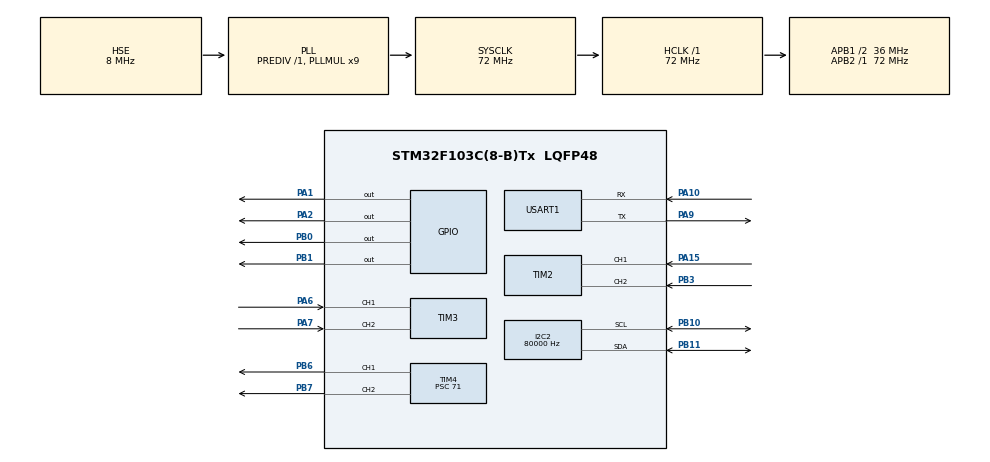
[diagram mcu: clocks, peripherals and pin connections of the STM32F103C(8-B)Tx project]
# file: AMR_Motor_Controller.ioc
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Mcu.Family=STM32F1
Mcu.Name=STM32F103C(8-B)Tx
Mcu.Package=LQFP48
I2C2.ClockSpeed=80000
NVIC.I2C2_ER_IRQn=true\:1\:0\:false\:false\:true\:true\:true
NVIC.I2C2_EV_IRQn=true\:1\:0\:false\:false\:true\:true\:true
NVIC.PriorityGroup=NVIC_PRIORITYGROUP_4
NVIC.USART1_IRQn=true\:0\:0\:false\:false\:true\:true\:true
PA1.Signal=GPIO_Output
PA10.Mode=Asynchronous
PA10.Signal=USART1_RX
PA13.Mode=Serial_Wire
PA13.Signal=SYS_JTMS-SWDIO
PA14.Mode=Serial_Wire
PA14.Signal=SYS_JTCK-SWCLK
PA15.Signal=S_TIM2_CH1_ETR
PA2.Signal=GPIO_Output
PA6.Signal=S_TIM3_CH1
PA7.Signal=S_TIM3_CH2
PA9.Mode=Asynchronous
PA9.Signal=USART1_TX
PB0.Signal=GPIO_Output
PB1.Signal=GPIO_Output
PB10.Mode=I2C
PB10.Signal=I2C2_SCL
PB11.Mode=I2C
PB11.Signal=I2C2_SDA
PB3.Signal=S_TIM2_CH2
PB6.Signal=S_TIM4_CH1
PB7.Signal=S_TIM4_CH2
PD0-OSC_IN.Mode=HSE-External-Oscillator
PD0-OSC_IN.Signal=RCC_OSC_IN
PD1-OSC_OUT.Mode=HSE-External-Oscillator
PD1-OSC_OUT.Signal=RCC_OSC_OUT
ProjectManager.HeapSize=0x200
ProjectManager.StackSize=0x400
ProjectManager.TargetToolchain=STM32CubeIDE
RCC.AHBFreq_Value=72000000
RCC.APB1CLKDivider=RCC_HCLK_DIV2
RCC.APB1Freq_Value=36000000
RCC.APB1TimFreq_Value=72000000
RCC.APB2Freq_Value=72000000
RCC.APB2TimFreq_Value=72000000
RCC.HCLKFreq_Value=72000000
RCC.PLLMUL=RCC_PLL_MUL9
RCC.PLLSourceVirtual=RCC_PLLSOURCE_HSE
RCC.SYSCLKFreq_VALUE=72000000
RCC.SYSCLKSource=RCC_SYSCLKSOURCE_PLLCLK
RCC.USBFreq_Value=72000000
SH.S_TIM2_CH1_ETR.0=TIM2_CH1,Encoder_Interface
SH.S_TIM2_CH2.0=TIM2_CH2,Encoder_Interface
SH.S_TIM3_CH1.0=TIM3_CH1,Encoder_Interface
SH.S_TIM3_CH2.0=TIM3_CH2,Encoder_Interface
SH.S_TIM4_CH1.0=TIM4_CH1,PWM Generation1 CH1
SH.S_TIM4_CH2.0=TIM4_CH2,PWM Generation2 CH2
TIM2.EncoderMode=TIM_ENCODERMODE_TI12
TIM3.EncoderMode=TIM_ENCODERMODE_TI12
TIM4.Channel-PWM\ Generation1\ CH1=TIM_CHANNEL_1
TIM4.Channel-PWM\ Generation2\ CH2=TIM_CHANNEL_2
TIM4.Period=7199
TIM4.Prescaler=71
USART1.VirtualMode=VM_ASYNC
VP_TIM4_VS_ClockSourceINT.Mode=Internal
board=custom

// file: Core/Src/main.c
/* USER CODE BEGIN Header */
/**
 ******************************************************************************
 * @file           : main.c
 * @brief          : Main program body
 ******************************************************************************
 * @attention
 *
 * <h2><center>&copy; Copyright (c) 2026 STMicroelectronics.
 * All rights reserved.</center></h2>
 *
 * This software component is licensed by ST under BSD 3-Clause license,
 * the "License"; You may not use this file except in compliance with the
 * License. You may obtain a copy of the License at:
 *                        opensource.org/licenses/BSD-3-Clause
 *
 ******************************************************************************
 */
/* USER CODE END Header */
#include "main.h"

/* USER CODE BEGIN Includes */

#include "drive_base.h"
#include "robot_cfg.h"
#include "serial_comm.h"
#include "command_watchdog.h"
#include "mpu6050.h"

/* USER CODE END Includes */

/* USER CODE BEGIN PD */

#define MPU6050_INIT_RETRY_MS     100U
#define MPU6050_INIT_MAX_ATTEMPTS 10U

/* IWDG timeout nominal: (1249 + 1) * 64 / 40 kHz = 2 seconds. */
#define IWDG_RELOAD_VALUE         1249U
#define IWDG_WRITE_ACCESS_KEY     0x5555U
#define IWDG_RELOAD_KEY           0xAAAAU
#define IWDG_START_KEY            0xCCCCU

/* USER CODE END PD */

I2C_HandleTypeDef hi2c2;

TIM_HandleTypeDef htim2;
TIM_HandleTypeDef htim3;
TIM_HandleTypeDef htim4;

UART_HandleTypeDef huart1;

/* USER CODE BEGIN PV */

DriveBase drive;

static uint32_t last_tick;
static uint32_t last_encoder_tx_tick;
static uint32_t last_imu_tx_tick;

static Mpu6050 imu;
static Mpu6050Sample imu_sample;

volatile uint32_t reset_cause_flags;

static CommandWatchdog command_wd;

/* USER CODE END PV */

void SystemClock_Config(void);
static void MX_GPIO_Init(void);
static void MX_TIM3_Init(void);
static void MX_TIM4_Init(void);
static void MX_TIM2_Init(void);
static void MX_USART1_UART_Init(void);
static void MX_I2C2_Init(void);

/* USER CODE BEGIN 0 */

static void HardwareWatchdog_Init(void)
{
  /* Start first so a stalled register update also causes a reset. */
  IWDG->KR = IWDG_START_KEY;
  IWDG->KR = IWDG_WRITE_ACCESS_KEY;
  IWDG->PR = IWDG_PR_PR_2;  			/* LSI / 64 */
  IWDG->RLR = IWDG_RELOAD_VALUE;

  while (IWDG->SR != 0U)
  {
  }

  IWDG->KR = IWDG_RELOAD_KEY;
}

static void HardwareWatchdog_Refresh(void)
{
  IWDG->KR = IWDG_RELOAD_KEY;
}

/* USER CODE END 0 */

int main(void)
{

  /* MCU Configuration--------------------------------------------------------*/

  /* Reset of all peripherals, Initializes the Flash interface and the Systick. */
  HAL_Init();

  reset_cause_flags = RCC->CSR;
  __HAL_RCC_CLEAR_RESET_FLAGS();

  /* Configure the system clock */
  SystemClock_Config();

  /* Initialize all configured peripherals */
  MX_GPIO_Init();
  MX_TIM3_Init();
  MX_TIM4_Init();
  MX_TIM2_Init();
  MX_USART1_UART_Init();
  MX_I2C2_Init();
  /* USER CODE BEGIN 2 */

  imu_sample.valid = 0;

  for (uint8_t attempt = 0; attempt < MPU6050_INIT_MAX_ATTEMPTS; ++attempt)
  {
      if (Mpu6050_Init(&imu, &hi2c2, GPIOB, GPIO_PIN_10, GPIO_PIN_11, 0x68U) == HAL_OK &&
          Mpu6050_CalibrateGyro(&imu, 500U) == HAL_OK)
          break;

      HAL_Delay(MPU6050_INIT_RETRY_MS);
  }

  DriveBase_Init(&drive, &htim2, &htim3, &htim4);

  if (DriveBase_Start(&drive) != HAL_OK)
  {
	  Error_Handler();
  }

  Serial_Comm_Init(&huart1);

  CommandWatchdog_Init(&command_wd, WATCHDOG_TIMEOUT_MS);

  last_tick = HAL_GetTick();
  last_encoder_tx_tick = HAL_GetTick();
  last_imu_tx_tick = HAL_GetTick();

  /* Enable only after the potentially long IMU startup calibration. */
  HardwareWatchdog_Init();

  /* USER CODE END 2 */

  /* Infinite loop */
  while (1)
  {

    /* USER CODE BEGIN 3 */

    /* Xu ly du lieu UART nhan duoc */
    Serial_Comm_Process();

    uint32_t now = HAL_GetTick();

    if (CommandWatchdog_Update(&command_wd, now))
    {
        CommandWatchdog_Disarm(&command_wd);
        DriveBase_SafeStop(&drive);
    }

    /* Lay lenh CMD moi nhat neu co */
    SerialVelocityCommand received_cmd;
    if (Serial_Comm_GetCommand(&received_cmd))
    {
        if (received_cmd.type == SERIAL_CMD_DISARM)
        {
            CommandWatchdog_Disarm(&command_wd);
            DriveBase_SafeStop(&drive);
        }
        else if (received_cmd.type == SERIAL_CMD_ARM && drive_fault == DRIVE_OK)
        {
            DriveBase_SafeStop(&drive);
            drive_enable = 1;
            CommandWatchdog_Arm(&command_wd, now);
        }
        else if (received_cmd.type == SERIAL_CMD_VELOCITY &&
                 drive_enable && command_wd.armed &&
                 now - received_cmd.received_ms < command_wd.timeout_ms)
        {
            cmd_v = received_cmd.linear_x;
            cmd_w = received_cmd.angular_z;
            CommandWatchdog_Refresh(&command_wd, now);
        }
    }

    /* Dieu khien dong co */
    uint32_t elapsed = now - last_tick;

    if (elapsed >= CTRL_PERIOD_MS)
    {
        last_tick = now;
        DriveBase_Update(&drive, elapsed);
    }

    Mpu6050_Service(&imu, &imu_sample, now);

    /* Gui mau moi nhat moi 20ms ~ 50Hz */
    if (imu_sample.valid && now - last_imu_tx_tick >= 20U)
    {
        last_imu_tx_tick = now;
        Serial_Comm_SendImu(&imu_sample);
    }

    /* Gui Encoder moi 100 ms */
    if (now - last_encoder_tx_tick >= 100)
    {
        last_encoder_tx_tick = now;

        /* Lay tong xung da duoc chuan hoa */
        int32_t left_count = drive.left.enc.total;
        int32_t right_count = drive.right.enc.total;

        /* Truyen Encoder qua USART1 */
        Serial_Comm_SendEncoder(left_count, right_count);
    }

    if (drive_fault != DRIVE_OK && command_wd.armed)
    {
        CommandWatchdog_Disarm(&command_wd);
        DriveBase_SafeStop(&drive);
    }

    /* Refresh only after the complete main-loop safety and control path ran. */
    HardwareWatchdog_Refresh();
  }
  /* USER CODE END 3 */
}

void SystemClock_Config(void)
{
  RCC_OscInitTypeDef RCC_OscInitStruct = {0};
  RCC_ClkInitTypeDef RCC_ClkInitStruct = {0};

  /** Initializes the RCC Oscillators according to the specified parameters
  * in the RCC_OscInitTypeDef structure.
  */
  RCC_OscInitStruct.OscillatorType = RCC_OSCILLATORTYPE_HSE;
  RCC_OscInitStruct.HSEState = RCC_HSE_ON;
  RCC_OscInitStruct.HSEPredivValue = RCC_HSE_PREDIV_DIV1;
  RCC_OscInitStruct.HSIState = RCC_HSI_ON;
  RCC_OscInitStruct.PLL.PLLState = RCC_PLL_ON;
  RCC_OscInitStruct.PLL.PLLSource = RCC_PLLSOURCE_HSE;
  RCC_OscInitStruct.PLL.PLLMUL = RCC_PLL_MUL9;
  if (HAL_RCC_OscConfig(&RCC_OscInitStruct) != HAL_OK)
  {
    Error_Handler();
  }
  /** Initializes the CPU, AHB and APB buses clocks
  */
  RCC_ClkInitStruct.ClockType = RCC_CLOCKTYPE_HCLK|RCC_CLOCKTYPE_SYSCLK
                              |RCC_CLOCKTYPE_PCLK1|RCC_CLOCKTYPE_PCLK2;
  RCC_ClkInitStruct.SYSCLKSource = RCC_SYSCLKSOURCE_PLLCLK;
  RCC_ClkInitStruct.AHBCLKDivider = RCC_SYSCLK_DIV1;
  RCC_ClkInitStruct.APB1CLKDivider = RCC_HCLK_DIV2;
  RCC_ClkInitStruct.APB2CLKDivider = RCC_HCLK_DIV1;

  if (HAL_RCC_ClockConfig(&RCC_ClkInitStruct, FLASH_LATENCY_2) != HAL_OK)
  {
    Error_Handler();
  }
}

static void MX_I2C2_Init(void)
{

  hi2c2.Instance = I2C2;
  hi2c2.Init.ClockSpeed = 80000;
  hi2c2.Init.DutyCycle = I2C_DUTYCYCLE_2;
  hi2c2.Init.OwnAddress1 = 0;
  hi2c2.Init.AddressingMode = I2C_ADDRESSINGMODE_7BIT;
  hi2c2.Init.DualAddressMode = I2C_DUALADDRESS_DISABLE;
  hi2c2.Init.OwnAddress2 = 0;
  hi2c2.Init.GeneralCallMode = I2C_GENERALCALL_DISABLE;
  hi2c2.Init.NoStretchMode = I2C_NOSTRETCH_DISABLE;
  if (HAL_I2C_Init(&hi2c2) != HAL_OK)
  {
    Error_Handler();
  }

}

static void MX_TIM2_Init(void)
{

  TIM_Encoder_InitTypeDef sConfig = {0};
  TIM_MasterConfigTypeDef sMasterConfig = {0};

  htim2.Instance = TIM2;
  htim2.Init.Prescaler = 0;
  htim2.Init.CounterMode = TIM_COUNTERMODE_UP;
  htim2.Init.Period = 65535;
  htim2.Init.ClockDivision = TIM_CLOCKDIVISION_DIV1;
  htim2.Init.AutoReloadPreload = TIM_AUTORELOAD_PRELOAD_DISABLE;
  sConfig.EncoderMode = TIM_ENCODERMODE_TI12;
  sConfig.IC1Polarity = TIM_ICPOLARITY_RISING;
  sConfig.IC1Selection = TIM_ICSELECTION_DIRECTTI;
  sConfig.IC1Prescaler = TIM_ICPSC_DIV1;
  sConfig.IC1Filter = 0;
  sConfig.IC2Polarity = TIM_ICPOLARITY_RISING;
  sConfig.IC2Selection = TIM_ICSELECTION_DIRECTTI;
  sConfig.IC2Prescaler = TIM_ICPSC_DIV1;
  sConfig.IC2Filter = 0;
  if (HAL_TIM_Encoder_Init(&htim2, &sConfig) != HAL_OK)
  {
    Error_Handler();
  }
  sMasterConfig.MasterOutputTrigger = TIM_TRGO_RESET;
  sMasterConfig.MasterSlaveMode = TIM_MASTERSLAVEMODE_DISABLE;
  if (HAL_TIMEx_MasterConfigSynchronization(&htim2, &sMasterConfig) != HAL_OK)
  {
    Error_Handler();
  }

}

static void MX_TIM3_Init(void)
{

  TIM_Encoder_InitTypeDef sConfig = {0};
  TIM_MasterConfigTypeDef sMasterConfig = {0};

  htim3.Instance = TIM3;
  htim3.Init.Prescaler = 0;
  htim3.Init.CounterMode = TIM_COUNTERMODE_UP;
  htim3.Init.Period = 65535;
  htim3.Init.ClockDivision = TIM_CLOCKDIVISION_DIV1;
  htim3.Init.AutoReloadPreload = TIM_AUTORELOAD_PRELOAD_DISABLE;
  sConfig.EncoderMode = TIM_ENCODERMODE_TI12;
  sConfig.IC1Polarity = TIM_ICPOLARITY_RISING;
  sConfig.IC1Selection = TIM_ICSELECTION_DIRECTTI;
  sConfig.IC1Prescaler = TIM_ICPSC_DIV1;
  sConfig.IC1Filter = 0;
  sConfig.IC2Polarity = TIM_ICPOLARITY_RISING;
  sConfig.IC2Selection = TIM_ICSELECTION_DIRECTTI;
  sConfig.IC2Prescaler = TIM_ICPSC_DIV1;
  sConfig.IC2Filter = 0;
  if (HAL_TIM_Encoder_Init(&htim3, &sConfig) != HAL_OK)
  {
    Error_Handler();
  }
  sMasterConfig.MasterOutputTrigger = TIM_TRGO_RESET;
  sMasterConfig.MasterSlaveMode = TIM_MASTERSLAVEMODE_DISABLE;
  if (HAL_TIMEx_MasterConfigSynchronization(&htim3, &sMasterConfig) != HAL_OK)
  {
    Error_Handler();
  }

}

static void MX_TIM4_Init(void)
{

  TIM_ClockConfigTypeDef sClockSourceConfig = {0};
  TIM_MasterConfigTypeDef sMasterConfig = {0};
  TIM_OC_InitTypeDef sConfigOC = {0};

  htim4.Instance = TIM4;
  htim4.Init.Prescaler = 71;
  htim4.Init.CounterMode = TIM_COUNTERMODE_UP;
  htim4.Init.Period = 7199;
  htim4.Init.ClockDivision = TIM_CLOCKDIVISION_DIV1;
  htim4.Init.AutoReloadPreload = TIM_AUTORELOAD_PRELOAD_DISABLE;
  if (HAL_TIM_Base_Init(&htim4) != HAL_OK)
  {
    Error_Handler();
  }
  sClockSourceConfig.ClockSource = TIM_CLOCKSOURCE_INTERNAL;
  if (HAL_TIM_ConfigClockSource(&htim4, &sClockSourceConfig) != HAL_OK)
  {
    Error_Handler();
  }
  if (HAL_TIM_PWM_Init(&htim4) != HAL_OK)
  {
    Error_Handler();
  }
  sMasterConfig.MasterOutputTrigger = TIM_TRGO_RESET;
  sMasterConfig.MasterSlaveMode = TIM_MASTERSLAVEMODE_DISABLE;
  if (HAL_TIMEx_MasterConfigSynchronization(&htim4, &sMasterConfig) != HAL_OK)
  {
    Error_Handler();
  }
  sConfigOC.OCMode = TIM_OCMODE_PWM1;
  sConfigOC.Pulse = 0;
  sConfigOC.OCPolarity = TIM_OCPOLARITY_HIGH;
  sConfigOC.OCFastMode = TIM_OCFAST_DISABLE;
  if (HAL_TIM_PWM_ConfigChannel(&htim4, &sConfigOC, TIM_CHANNEL_1) != HAL_OK)
  {
    Error_Handler();
  }
  if (HAL_TIM_PWM_ConfigChannel(&htim4, &sConfigOC, TIM_CHANNEL_2) != HAL_OK)
  {
    Error_Handler();
  }
  HAL_TIM_MspPostInit(&htim4);

}

static void MX_USART1_UART_Init(void)
{

  huart1.Instance = USART1;
  huart1.Init.BaudRate = 115200;
  huart1.Init.WordLength = UART_WORDLENGTH_8B;
  huart1.Init.StopBits = UART_STOPBITS_1;
  huart1.Init.Parity = UART_PARITY_NONE;
  huart1.Init.Mode = UART_MODE_TX_RX;
  huart1.Init.HwFlowCtl = UART_HWCONTROL_NONE;
  huart1.Init.OverSampling = UART_OVERSAMPLING_16;
  if (HAL_UART_Init(&huart1) != HAL_OK)
  {
    Error_Handler();
  }

}

static void MX_GPIO_Init(void)
{
  GPIO_InitTypeDef GPIO_InitStruct = {0};

  /* GPIO Ports Clock Enable */
  __HAL_RCC_GPIOD_CLK_ENABLE();
  __HAL_RCC_GPIOA_CLK_ENABLE();
  __HAL_RCC_GPIOB_CLK_ENABLE();

  /*Configure GPIO pin Output Level */
  HAL_GPIO_WritePin(GPIOA, GPIO_PIN_1|GPIO_PIN_2, GPIO_PIN_RESET);

  /*Configure GPIO pin Output Level */
  HAL_GPIO_WritePin(GPIOB, GPIO_PIN_0|GPIO_PIN_1, GPIO_PIN_RESET);

  /*Configure GPIO pins : PA1 PA2 */
  GPIO_InitStruct.Pin = GPIO_PIN_1|GPIO_PIN_2;
  GPIO_InitStruct.Mode = GPIO_MODE_OUTPUT_PP;
  GPIO_InitStruct.Pull = GPIO_NOPULL;
  GPIO_InitStruct.Speed = GPIO_SPEED_FREQ_LOW;
  HAL_GPIO_Init(GPIOA, &GPIO_InitStruct);

  /*Configure GPIO pins : PB0 PB1 */
  GPIO_InitStruct.Pin = GPIO_PIN_0|GPIO_PIN_1;
  GPIO_InitStruct.Mode = GPIO_MODE_OUTPUT_PP;
  GPIO_InitStruct.Pull = GPIO_NOPULL;
  GPIO_InitStruct.Speed = GPIO_SPEED_FREQ_LOW;
  HAL_GPIO_Init(GPIOB, &GPIO_InitStruct);

}

/* USER CODE BEGIN 4 */

void HAL_UART_RxCpltCallback(UART_HandleTypeDef *huart)
{
    Serial_Comm_RxCpltCallback(huart);
}

void HAL_UART_ErrorCallback(UART_HandleTypeDef *huart)
{
    Serial_Comm_ErrorCallback(huart);
}

/* USER CODE END 4 */

void Error_Handler(void)
{
  /* USER CODE BEGIN Error_Handler_Debug */
  if (htim4.Instance == TIM4)
  {
    __HAL_TIM_SET_COMPARE(&htim4, TIM_CHANNEL_1, 0);
    __HAL_TIM_SET_COMPARE(&htim4, TIM_CHANNEL_2, 0);
  }
  HAL_GPIO_WritePin(MOTOR_LEFT_GPIO_Port, MOTOR_LEFT_IN1_Pin | MOTOR_LEFT_IN2_Pin, GPIO_PIN_RESET);
  HAL_GPIO_WritePin(MOTOR_RIGHT_GPIO_Port, MOTOR_RIGHT_IN1_Pin | MOTOR_RIGHT_IN2_Pin, GPIO_PIN_RESET);
  /* User can add his own implementation to report the HAL error return state */
  __disable_irq();
  while (1)
  {
  }
  /* USER CODE END Error_Handler_Debug */
}

/************************ (C) COPYRIGHT STMicroelectronics *****END OF FILE****/
